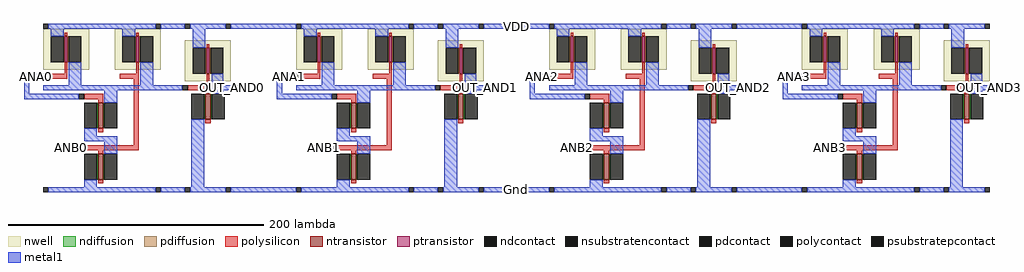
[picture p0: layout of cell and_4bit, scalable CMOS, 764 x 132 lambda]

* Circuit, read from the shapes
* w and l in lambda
.subckt and_4bit ANA0 ANA1 ANA2 ANA3 ANB0 ANB1 ANB2 ANB3 Gnd OUT_AND0 OUT_AND1 OUT_AND2 OUT_AND3 VDD
M1 n1 ANB0 Gnd Gnd nfet w=20 l=4
M2 n2 ANA0 n1 Gnd nfet w=20 l=4
M3 OUT_AND0 n2 Gnd Gnd nfet w=20 l=4
M4 n3 ANB1 Gnd Gnd nfet w=20 l=4
M5 n4 ANA1 n3 Gnd nfet w=20 l=4
M6 OUT_AND1 n4 Gnd Gnd nfet w=20 l=4
M7 n5 ANB2 Gnd Gnd nfet w=20 l=4
M8 n6 ANA2 n5 Gnd nfet w=20 l=4
M9 OUT_AND2 n6 Gnd Gnd nfet w=20 l=4
M10 n7 ANB3 Gnd Gnd nfet w=20 l=4
M11 n8 ANA3 n7 Gnd nfet w=20 l=4
M12 OUT_AND3 n8 Gnd Gnd nfet w=20 l=4
M13 n2 ANA0 VDD n9 pfet w=20 l=2
M14 n2 ANB0 VDD n10 pfet w=20 l=2
M15 OUT_AND0 n2 VDD n11 pfet w=20 l=2
M16 n4 ANA1 VDD n12 pfet w=20 l=2
M17 n4 ANB1 VDD n13 pfet w=20 l=2
M18 OUT_AND1 n4 VDD n14 pfet w=20 l=2
M19 n6 ANA2 VDD n15 pfet w=20 l=2
M20 n6 ANB2 VDD n16 pfet w=20 l=2
M21 OUT_AND2 n6 VDD n17 pfet w=20 l=2
M22 n8 ANA3 VDD n18 pfet w=20 l=2
M23 n8 ANB3 VDD n19 pfet w=20 l=2
M24 OUT_AND3 n8 VDD n20 pfet w=20 l=2
.ends

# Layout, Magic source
magic
tech scmos
<< nwell >>
rect 392 97 428 129
rect 448 97 484 129
rect 503 88 539 120
rect 590 97 626 129
rect 646 97 682 129
rect 701 88 737 120
rect 788 97 824 129
rect 844 97 880 129
rect 899 88 935 120
rect 986 97 1022 129
rect 1042 97 1078 129
rect 1097 88 1133 120
<< ntransistor >>
rect 435 51 439 71
rect 519 58 523 78
rect 633 51 637 71
rect 717 58 721 78
rect 831 51 835 71
rect 915 58 919 78
rect 1029 51 1033 71
rect 1113 58 1117 78
rect 435 11 439 31
rect 633 11 637 31
rect 831 11 835 31
rect 1029 11 1033 31
<< ptransistor >>
rect 409 103 411 123
rect 465 103 467 123
rect 520 94 522 114
rect 607 103 609 123
rect 663 103 665 123
rect 718 94 720 114
rect 805 103 807 123
rect 861 103 863 123
rect 916 94 918 114
rect 1003 103 1005 123
rect 1059 103 1061 123
rect 1114 94 1116 114
<< ndiffusion >>
rect 434 51 435 71
rect 439 51 440 71
rect 518 58 519 78
rect 523 58 524 78
rect 632 51 633 71
rect 637 51 638 71
rect 716 58 717 78
rect 721 58 722 78
rect 830 51 831 71
rect 835 51 836 71
rect 914 58 915 78
rect 919 58 920 78
rect 1028 51 1029 71
rect 1033 51 1034 71
rect 1112 58 1113 78
rect 1117 58 1118 78
rect 434 11 435 31
rect 439 11 440 31
rect 632 11 633 31
rect 637 11 638 31
rect 830 11 831 31
rect 835 11 836 31
rect 1028 11 1029 31
rect 1033 11 1034 31
<< pdiffusion >>
rect 408 103 409 123
rect 411 103 412 123
rect 464 103 465 123
rect 467 103 468 123
rect 519 94 520 114
rect 522 94 523 114
rect 606 103 607 123
rect 609 103 610 123
rect 662 103 663 123
rect 665 103 666 123
rect 717 94 718 114
rect 720 94 721 114
rect 804 103 805 123
rect 807 103 808 123
rect 860 103 861 123
rect 863 103 864 123
rect 915 94 916 114
rect 918 94 919 114
rect 1002 103 1003 123
rect 1005 103 1006 123
rect 1058 103 1059 123
rect 1061 103 1062 123
rect 1113 94 1114 114
rect 1116 94 1117 114
<< ndcontact >>
rect 424 51 434 71
rect 440 51 450 71
rect 508 58 518 78
rect 524 58 534 78
rect 622 51 632 71
rect 638 51 648 71
rect 706 58 716 78
rect 722 58 732 78
rect 820 51 830 71
rect 836 51 846 71
rect 904 58 914 78
rect 920 58 930 78
rect 1018 51 1028 71
rect 1034 51 1044 71
rect 1102 58 1112 78
rect 1118 58 1128 78
rect 424 11 434 31
rect 440 11 450 31
rect 622 11 632 31
rect 638 11 648 31
rect 820 11 830 31
rect 836 11 846 31
rect 1018 11 1028 31
rect 1034 11 1044 31
<< pdcontact >>
rect 398 103 408 123
rect 412 103 422 123
rect 454 103 464 123
rect 468 103 478 123
rect 509 94 519 114
rect 523 94 533 114
rect 596 103 606 123
rect 610 103 620 123
rect 652 103 662 123
rect 666 103 676 123
rect 707 94 717 114
rect 721 94 731 114
rect 794 103 804 123
rect 808 103 818 123
rect 850 103 860 123
rect 864 103 874 123
rect 905 94 915 114
rect 919 94 929 114
rect 992 103 1002 123
rect 1006 103 1016 123
rect 1048 103 1058 123
rect 1062 103 1072 123
rect 1103 94 1113 114
rect 1117 94 1127 114
<< psubstratepcontact >>
rect 392 1 396 5
rect 480 1 484 5
rect 503 1 507 5
rect 535 1 539 5
rect 590 1 594 5
rect 678 1 682 5
rect 701 1 705 5
rect 733 1 737 5
rect 788 1 792 5
rect 876 1 880 5
rect 899 1 903 5
rect 931 1 935 5
rect 986 1 990 5
rect 1074 1 1078 5
rect 1097 1 1101 5
rect 1129 1 1133 5
<< nsubstratencontact >>
rect 392 129 396 133
rect 480 129 484 133
rect 503 129 507 133
rect 535 129 539 133
rect 590 129 594 133
rect 678 129 682 133
rect 701 129 705 133
rect 733 129 737 133
rect 788 129 792 133
rect 876 129 880 133
rect 899 129 903 133
rect 931 129 935 133
rect 986 129 990 133
rect 1074 129 1078 133
rect 1097 129 1101 133
rect 1129 129 1133 133
<< polysilicon >>
rect 409 123 411 126
rect 465 123 467 126
rect 607 123 609 126
rect 663 123 665 126
rect 805 123 807 126
rect 861 123 863 126
rect 1003 123 1005 126
rect 1059 123 1061 126
rect 520 114 522 117
rect 409 94 411 103
rect 465 94 467 103
rect 718 114 720 117
rect 607 94 609 103
rect 663 94 665 103
rect 916 114 918 117
rect 805 94 807 103
rect 861 94 863 103
rect 1114 114 1116 117
rect 1003 94 1005 103
rect 1059 94 1061 103
rect 396 90 411 94
rect 452 90 467 94
rect 424 74 439 78
rect 435 71 439 74
rect 435 48 439 51
rect 463 38 467 90
rect 520 85 522 94
rect 594 90 609 94
rect 650 90 665 94
rect 505 83 522 85
rect 505 81 523 83
rect 519 78 523 81
rect 622 74 637 78
rect 633 71 637 74
rect 519 55 523 58
rect 633 48 637 51
rect 661 38 665 90
rect 718 85 720 94
rect 792 90 807 94
rect 848 90 863 94
rect 703 83 720 85
rect 703 81 721 83
rect 717 78 721 81
rect 820 74 835 78
rect 831 71 835 74
rect 717 55 721 58
rect 831 48 835 51
rect 859 38 863 90
rect 916 85 918 94
rect 990 90 1005 94
rect 1046 90 1061 94
rect 901 83 918 85
rect 901 81 919 83
rect 915 78 919 81
rect 1018 74 1033 78
rect 1029 71 1033 74
rect 915 55 919 58
rect 1029 48 1033 51
rect 1057 38 1061 90
rect 1114 85 1116 94
rect 1099 83 1116 85
rect 1099 81 1117 83
rect 1113 78 1117 81
rect 1113 55 1117 58
rect 424 34 467 38
rect 622 34 665 38
rect 820 34 863 38
rect 1018 34 1061 38
rect 435 31 439 34
rect 633 31 637 34
rect 831 31 835 34
rect 1029 31 1033 34
rect 435 8 439 11
rect 633 8 637 11
rect 831 8 835 11
rect 1029 8 1033 11
<< polycontact >>
rect 392 90 396 94
rect 420 74 424 78
rect 590 90 594 94
rect 501 81 505 85
rect 618 74 622 78
rect 788 90 792 94
rect 699 81 703 85
rect 816 74 820 78
rect 986 90 990 94
rect 897 81 901 85
rect 1014 74 1018 78
rect 1095 81 1099 85
rect 420 34 424 38
rect 618 34 622 38
rect 816 34 820 38
rect 1014 34 1018 38
<< metal1 >>
rect 396 129 480 133
rect 484 129 503 133
rect 507 129 535 133
rect 539 129 590 133
rect 594 129 678 133
rect 682 129 701 133
rect 705 129 733 133
rect 737 129 788 133
rect 792 129 876 133
rect 880 129 899 133
rect 903 129 931 133
rect 935 129 986 133
rect 990 129 1074 133
rect 1078 129 1097 133
rect 1101 129 1129 133
rect 398 123 408 129
rect 454 123 464 129
rect 377 90 392 94
rect 377 78 381 90
rect 412 85 422 103
rect 468 85 478 103
rect 509 114 519 129
rect 596 123 606 129
rect 652 123 662 129
rect 524 85 533 94
rect 575 90 590 94
rect 392 81 501 85
rect 524 81 547 85
rect 377 74 420 78
rect 440 71 450 81
rect 524 78 533 81
rect 575 78 579 90
rect 610 85 620 103
rect 666 85 676 103
rect 707 114 717 129
rect 794 123 804 129
rect 850 123 860 129
rect 722 85 731 94
rect 773 90 788 94
rect 590 81 699 85
rect 722 81 745 85
rect 575 74 618 78
rect 638 71 648 81
rect 722 78 731 81
rect 773 78 777 90
rect 808 85 818 103
rect 864 85 874 103
rect 905 114 915 129
rect 992 123 1002 129
rect 1048 123 1058 129
rect 920 85 929 94
rect 971 90 986 94
rect 788 81 897 85
rect 920 81 943 85
rect 424 45 434 51
rect 424 41 450 45
rect 405 34 420 38
rect 440 31 450 41
rect 424 5 434 11
rect 508 5 518 58
rect 773 74 816 78
rect 836 71 846 81
rect 920 78 929 81
rect 971 78 975 90
rect 1006 85 1016 103
rect 1062 85 1072 103
rect 1103 114 1113 129
rect 1118 85 1127 94
rect 986 81 1095 85
rect 1118 81 1141 85
rect 622 45 632 51
rect 622 41 648 45
rect 603 34 618 38
rect 638 31 648 41
rect 622 5 632 11
rect 706 5 716 58
rect 971 74 1014 78
rect 1034 71 1044 81
rect 1118 78 1127 81
rect 820 45 830 51
rect 820 41 846 45
rect 801 34 816 38
rect 836 31 846 41
rect 820 5 830 11
rect 904 5 914 58
rect 1018 45 1028 51
rect 1018 41 1044 45
rect 999 34 1014 38
rect 1034 31 1044 41
rect 1018 5 1028 11
rect 1102 5 1112 58
rect 396 1 480 5
rect 484 1 503 5
rect 507 1 535 5
rect 539 1 590 5
rect 594 1 678 5
rect 682 1 701 5
rect 705 1 733 5
rect 737 1 788 5
rect 792 1 876 5
rect 880 1 899 5
rect 903 1 931 5
rect 935 1 986 5
rect 990 1 1074 5
rect 1078 1 1097 5
rect 1101 1 1129 5
<< labels >>
rlabel metal1 392 1 1133 5 1 Gnd
rlabel metal1 392 129 1133 133 5 VDD
rlabel metal1 377 90 396 94 1 ANA0
rlabel metal1 575 90 594 94 1 ANA1
rlabel metal1 773 90 792 94 1 ANA2
rlabel metal1 971 90 990 94 1 ANA3
rlabel metal1 405 34 424 38 1 ANB0
rlabel metal1 603 34 622 38 1 ANB1
rlabel metal1 801 34 820 38 1 ANB2
rlabel metal1 999 34 1018 38 1 ANB3
rlabel metal1 533 81 547 85 1 OUT_AND0
rlabel metal1 731 81 745 85 1 OUT_AND1
rlabel metal1 929 81 943 85 1 OUT_AND2
rlabel metal1 1127 81 1141 85 1 OUT_AND3
<< end >>
